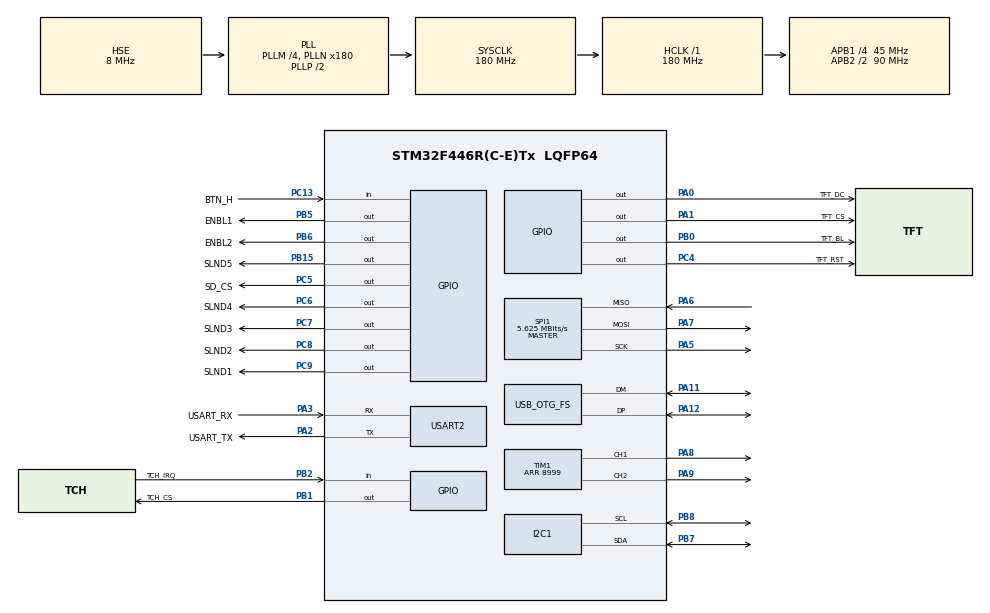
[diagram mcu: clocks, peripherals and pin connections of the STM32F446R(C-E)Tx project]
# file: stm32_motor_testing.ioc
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I2C1.I2C_Mode=I2C_Fast
Mcu.Family=STM32F4
Mcu.Name=STM32F446R(C-E)Tx
Mcu.Package=LQFP64
NVIC.OTG_FS_IRQn=true\:0\:0\:false\:false\:true\:false\:true\:true
NVIC.PriorityGroup=NVIC_PRIORITYGROUP_0
NVIC.TIM3_IRQn=true\:0\:0\:false\:false\:true\:true\:true\:true
NVIC.USART2_IRQn=true\:0\:0\:false\:false\:true\:true\:true\:true
PA0-WKUP.GPIO_Label=TFT_DC
PA0-WKUP.Signal=GPIO_Output
PA1.GPIO_Label=TFT_CS
PA1.Signal=GPIO_Output
PA11.Mode=Device_Only
PA11.Signal=USB_OTG_FS_DM
PA12.Mode=Device_Only
PA12.Signal=USB_OTG_FS_DP
PA13.GPIO_Label=TMS
PA13.Mode=Serial_Wire
PA13.Signal=SYS_JTMS-SWDIO
PA14.GPIO_Label=TCK
PA14.Mode=Serial_Wire
PA14.Signal=SYS_JTCK-SWCLK
PA2.GPIO_Label=USART_TX
PA2.Mode=Asynchronous
PA2.Signal=USART2_TX
PA3.GPIO_Label=USART_RX
PA3.Mode=Asynchronous
PA3.Signal=USART2_RX
PA5.Mode=Full_Duplex_Master
PA5.Signal=SPI1_SCK
PA6.Mode=Full_Duplex_Master
PA6.Signal=SPI1_MISO
PA7.Mode=Full_Duplex_Master
PA7.Signal=SPI1_MOSI
PA8.Signal=S_TIM1_CH1
PA9.Signal=S_TIM1_CH2
PB0.GPIO_Label=TFT_BL
PB0.Signal=GPIO_Output
PB1.GPIO_Label=TCH_CS
PB1.Signal=GPIO_Output
PB15.GPIO_Label=SLND5
PB15.Signal=GPIO_Output
PB2.GPIO_Label=TCH_IRQ
PB2.GPIO_PuPd=GPIO_PULLUP
PB2.Signal=GPIO_Input
PB3.GPIO_Label=SWO
PB3.Signal=SYS_JTDO-SWO
PB5.GPIO_Label=ENBL1
PB5.Signal=GPIO_Output
PB6.GPIO_Label=ENBL2
PB6.Signal=GPIO_Output
PB7.Mode=I2C
PB7.Signal=I2C1_SDA
PB8.Mode=I2C
PB8.Signal=I2C1_SCL
PC13.GPIO_Label=BTN_H
PC13.Signal=GPIO_Input
PC14-OSC32_IN.Mode=LSE-External-Oscillator
PC14-OSC32_IN.Signal=RCC_OSC32_IN
PC15-OSC32_OUT.Mode=LSE-External-Oscillator
PC15-OSC32_OUT.Signal=RCC_OSC32_OUT
PC4.GPIO_Label=TFT_RST
PC4.Signal=GPIO_Output
PC5.GPIO_Label=SD_CS
PC5.Signal=GPIO_Output
PC6.GPIO_Label=SLND4
PC6.Signal=GPIO_Output
PC7.GPIO_Label=SLND3
PC7.Signal=GPIO_Output
PC8.GPIO_Label=SLND2
PC8.Signal=GPIO_Output
PC9.GPIO_Label=SLND1
PC9.Signal=GPIO_Output
PH0-OSC_IN.Mode=HSE-External-Oscillator
PH0-OSC_IN.Signal=RCC_OSC_IN
PH1-OSC_OUT.Mode=HSE-External-Oscillator
PH1-OSC_OUT.Signal=RCC_OSC_OUT
ProjectManager.HeapSize=0x200
ProjectManager.StackSize=0x400
ProjectManager.TargetToolchain=CMake
RCC.48MHZClocksFreq_Value=84000000
RCC.AHBFreq_Value=180000000
RCC.APB1CLKDivider=RCC_HCLK_DIV4
RCC.APB1Freq_Value=45000000
RCC.APB1TimFreq_Value=90000000
RCC.APB2CLKDivider=RCC_HCLK_DIV2
RCC.APB2Freq_Value=90000000
RCC.APB2TimFreq_Value=180000000
RCC.CortexFreq_Value=180000000
RCC.FLatency-AdvancedSettings=FLASH_LATENCY_5
RCC.HCLKFreq_Value=180000000
RCC.HSE_VALUE=8000000
RCC.HSI_VALUE=16000000
RCC.PLLM=4
RCC.PLLN=180
RCC.PLLSAIM=8
RCC.PLLSAIP=RCC_PLLSAIP_DIV4
RCC.SYSCLKFreq_VALUE=180000000
RCC.SYSCLKSource=RCC_SYSCLKSOURCE_PLLCLK
RCC.USBCLockSelection=RCC_CLK48CLKSOURCE_PLLSAIP
RCC.USBFreq_Value=48000000
RCC.VCOOutputFreq_Value=360000000
SH.S_TIM1_CH1.0=TIM1_CH1,PWM Generation1 CH1
SH.S_TIM1_CH2.0=TIM1_CH2,PWM Generation2 CH2
SPI1.BaudRatePrescaler=SPI_BAUDRATEPRESCALER_16
SPI1.CalculateBaudRate=5.625 MBits/s
SPI1.Direction=SPI_DIRECTION_2LINES
SPI1.Mode=SPI_MODE_MASTER
SPI1.VirtualType=VM_MASTER
TIM1.Channel-PWM\ Generation1\ CH1=TIM_CHANNEL_1
TIM1.Channel-PWM\ Generation2\ CH2=TIM_CHANNEL_2
TIM1.Period=8999
TIM3.Period=99
TIM3.Prescaler=8999
USART2.VirtualMode=VM_ASYNC
USB_DEVICE.CLASS_NAME_FS=CDC
USB_DEVICE.VirtualMode-CDC_FS=Cdc
USB_DEVICE.VirtualModeFS=Cdc_FS
USB_OTG_FS.VirtualMode=Device_Only
VP_TIM1_VS_ClockSourceINT.Mode=Internal
VP_TIM3_VS_ClockSourceINT.Mode=Internal
VP_USB_DEVICE_VS_USB_DEVICE_CDC_FS.Mode=CDC_FS
board=NUCLEO-F446RE

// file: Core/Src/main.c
/* USER CODE BEGIN Header */
/* USER CODE END Header */
#include "main.h"
#include "usb_device.h"

/* USER CODE BEGIN Includes */
#include <stdio.h>
#include <string.h>
#include <stdbool.h>
#include "as5600_position.h"
#include "motor_control.h"
#include "actuator.h"
#include "ili9341.h"
#include "xpt2046.h"
#include "menu.h"
/* USER CODE END Includes */

I2C_HandleTypeDef hi2c1;

SPI_HandleTypeDef hspi1;

TIM_HandleTypeDef htim1;
TIM_HandleTypeDef htim3;

UART_HandleTypeDef huart2;

/* USER CODE BEGIN PV */
static const GPIO_Pin_t g_fingers[5] = {
    {GPIOC, SLND1_Pin},
    {GPIOC, SLND2_Pin},
    {GPIOC, SLND3_Pin},
    {GPIOC, SLND4_Pin},
    {GPIOB, SLND5_Pin},
};
/* USER CODE END PV */

void SystemClock_Config(void);
static void MX_GPIO_Init(void);
static void MX_TIM1_Init(void);
static void MX_USART2_UART_Init(void);
static void MX_TIM3_Init(void);
static void MX_I2C1_Init(void);
static void MX_SPI1_Init(void);

/* USER CODE BEGIN 0 */

/* SPI1 shared byte transfer (LCD + touch share the same bus) */
static uint8_t spi1_txrx(uint8_t byte)
{
    uint8_t rx = 0;
    HAL_SPI_TransmitReceive(&hspi1, &byte, &rx, 1, HAL_MAX_DELAY);
    return rx;
}

/* LCD GPIO */
static void lcd_set_cs(int v)
{
    HAL_GPIO_WritePin(TFT_CS_GPIO_Port, TFT_CS_Pin,
                      v ? GPIO_PIN_SET : GPIO_PIN_RESET);
}
static void lcd_set_dc(int v)
{
    HAL_GPIO_WritePin(TFT_DC_GPIO_Port, TFT_DC_Pin,
                      v ? GPIO_PIN_SET : GPIO_PIN_RESET);
}
static void lcd_set_rst(int v)
{
    HAL_GPIO_WritePin(TFT_RST_GPIO_Port, TFT_RST_Pin,
                      v ? GPIO_PIN_SET : GPIO_PIN_RESET);
}

/* Touch GPIO */
static void tch_set_cs(int v)
{
    HAL_GPIO_WritePin(TCH_CS_GPIO_Port, TCH_CS_Pin,
                      v ? GPIO_PIN_SET : GPIO_PIN_RESET);
}
static int tch_read_irq(void)
{
    return HAL_GPIO_ReadPin(TCH_IRQ_GPIO_Port, TCH_IRQ_Pin);
}

/* Strong definition: drive solenoid finger from the actuators screen */
void menu_test_finger(int idx, bool on)
{
    if (idx < 0 || idx >= 5) return;
    Actuator_SetState(on ? GPIO_PIN_SET : GPIO_PIN_RESET, 1, g_fingers[idx]);
}

/* USER CODE END 0 */

int main(void)
{

  /* MCU Configuration--------------------------------------------------------*/

  /* Reset of all peripherals, Initializes the Flash interface and the Systick. */
  HAL_Init();

  /* Configure the system clock */
  SystemClock_Config();

  /* Initialize all configured peripherals */
  MX_GPIO_Init();
  MX_TIM1_Init();
  MX_USART2_UART_Init();
  MX_TIM3_Init();
  MX_I2C1_Init();
  MX_SPI1_Init();
  MX_USB_DEVICE_Init();
  /* USER CODE BEGIN 2 */

  /* Deassert all SPI CS pins before driving the bus */
  lcd_set_cs(1);
  tch_set_cs(1);
  HAL_GPIO_WritePin(SD_CS_GPIO_Port, SD_CS_Pin, GPIO_PIN_SET);

  /* Init LCD */
  ILI9341_Config lcd_cfg = {
    .spi_txrx = spi1_txrx,
    .set_cs   = lcd_set_cs,
    .set_dc   = lcd_set_dc,
    .set_rst  = lcd_set_rst,
    .delay_ms = HAL_Delay,
    .rotation = ROTATION_0,
  };
  ili9341_init(&lcd_cfg);
  HAL_GPIO_WritePin(TFT_BL_GPIO_Port, TFT_BL_Pin, GPIO_PIN_SET);

  /* Init touchscreen */
  XPT2046_Config tch_cfg = {
    .spi_txrx = spi1_txrx,
    .set_cs   = tch_set_cs,
    .read_irq = tch_read_irq,
  };
  xpt2046_init(&tch_cfg);
  xpt2046_default_cal(ILI9341_WIDTH, ILI9341_HEIGHT);

  /* Init menu */
  menu_init();

  /* Init solenoid fingers */
  Actuator_Init(5,
    g_fingers[0], g_fingers[1], g_fingers[2],
    g_fingers[3], g_fingers[4]);

  /* Init encoder and motor control */
  AS5600_Init();
  MotorControl_Init();
  //MotorControl_Home();

  /* USER CODE END 2 */

  /* Infinite loop */
  while (1) {

    /* USER CODE BEGIN 3 */
    MotorControl_Process();   /* handle UART commands + stream telemetry */
    menu_update();            /* poll touchscreen and update LCD menu     */
  }
  /* USER CODE END 3 */
}

void SystemClock_Config(void)
{
  RCC_OscInitTypeDef RCC_OscInitStruct = {0};
  RCC_ClkInitTypeDef RCC_ClkInitStruct = {0};

  /** Configure the main internal regulator output voltage
  */
  __HAL_RCC_PWR_CLK_ENABLE();
  __HAL_PWR_VOLTAGESCALING_CONFIG(PWR_REGULATOR_VOLTAGE_SCALE1);

  /** Initializes the RCC Oscillators according to the specified parameters
  * in the RCC_OscInitTypeDef structure.
  */
  RCC_OscInitStruct.OscillatorType = RCC_OSCILLATORTYPE_HSE;
  RCC_OscInitStruct.HSEState = RCC_HSE_ON;
  RCC_OscInitStruct.PLL.PLLState = RCC_PLL_ON;
  RCC_OscInitStruct.PLL.PLLSource = RCC_PLLSOURCE_HSE;
  RCC_OscInitStruct.PLL.PLLM = 4;
  RCC_OscInitStruct.PLL.PLLN = 180;
  RCC_OscInitStruct.PLL.PLLP = RCC_PLLP_DIV2;
  RCC_OscInitStruct.PLL.PLLQ = 2;
  RCC_OscInitStruct.PLL.PLLR = 2;
  if (HAL_RCC_OscConfig(&RCC_OscInitStruct) != HAL_OK)
  {
    Error_Handler();
  }

  /** Activate the Over-Drive mode
  */
  if (HAL_PWREx_EnableOverDrive() != HAL_OK)
  {
    Error_Handler();
  }

  /** Initializes the CPU, AHB and APB buses clocks
  */
  RCC_ClkInitStruct.ClockType = RCC_CLOCKTYPE_HCLK|RCC_CLOCKTYPE_SYSCLK
                              |RCC_CLOCKTYPE_PCLK1|RCC_CLOCKTYPE_PCLK2;
  RCC_ClkInitStruct.SYSCLKSource = RCC_SYSCLKSOURCE_PLLCLK;
  RCC_ClkInitStruct.AHBCLKDivider = RCC_SYSCLK_DIV1;
  RCC_ClkInitStruct.APB1CLKDivider = RCC_HCLK_DIV4;
  RCC_ClkInitStruct.APB2CLKDivider = RCC_HCLK_DIV2;

  if (HAL_RCC_ClockConfig(&RCC_ClkInitStruct, FLASH_LATENCY_5) != HAL_OK)
  {
    Error_Handler();
  }
}

static void MX_I2C1_Init(void)
{

  hi2c1.Instance = I2C1;
  hi2c1.Init.ClockSpeed = 400000;
  hi2c1.Init.DutyCycle = I2C_DUTYCYCLE_2;
  hi2c1.Init.OwnAddress1 = 0;
  hi2c1.Init.AddressingMode = I2C_ADDRESSINGMODE_7BIT;
  hi2c1.Init.DualAddressMode = I2C_DUALADDRESS_DISABLE;
  hi2c1.Init.OwnAddress2 = 0;
  hi2c1.Init.GeneralCallMode = I2C_GENERALCALL_DISABLE;
  hi2c1.Init.NoStretchMode = I2C_NOSTRETCH_DISABLE;
  if (HAL_I2C_Init(&hi2c1) != HAL_OK)
  {
    Error_Handler();
  }

}

static void MX_SPI1_Init(void)
{

  /* SPI1 parameter configuration*/
  hspi1.Instance = SPI1;
  hspi1.Init.Mode = SPI_MODE_MASTER;
  hspi1.Init.Direction = SPI_DIRECTION_2LINES;
  hspi1.Init.DataSize = SPI_DATASIZE_8BIT;
  hspi1.Init.CLKPolarity = SPI_POLARITY_LOW;
  hspi1.Init.CLKPhase = SPI_PHASE_1EDGE;
  hspi1.Init.NSS = SPI_NSS_SOFT;
  hspi1.Init.BaudRatePrescaler = SPI_BAUDRATEPRESCALER_16;
  hspi1.Init.FirstBit = SPI_FIRSTBIT_MSB;
  hspi1.Init.TIMode = SPI_TIMODE_DISABLE;
  hspi1.Init.CRCCalculation = SPI_CRCCALCULATION_DISABLE;
  hspi1.Init.CRCPolynomial = 10;
  if (HAL_SPI_Init(&hspi1) != HAL_OK)
  {
    Error_Handler();
  }

}

static void MX_TIM1_Init(void)
{

  TIM_ClockConfigTypeDef sClockSourceConfig = {0};
  TIM_MasterConfigTypeDef sMasterConfig = {0};
  TIM_OC_InitTypeDef sConfigOC = {0};
  TIM_BreakDeadTimeConfigTypeDef sBreakDeadTimeConfig = {0};

  htim1.Instance = TIM1;
  htim1.Init.Prescaler = 0;
  htim1.Init.CounterMode = TIM_COUNTERMODE_UP;
  htim1.Init.Period = 8999;
  htim1.Init.ClockDivision = TIM_CLOCKDIVISION_DIV1;
  htim1.Init.RepetitionCounter = 0;
  htim1.Init.AutoReloadPreload = TIM_AUTORELOAD_PRELOAD_DISABLE;
  if (HAL_TIM_Base_Init(&htim1) != HAL_OK)
  {
    Error_Handler();
  }
  sClockSourceConfig.ClockSource = TIM_CLOCKSOURCE_INTERNAL;
  if (HAL_TIM_ConfigClockSource(&htim1, &sClockSourceConfig) != HAL_OK)
  {
    Error_Handler();
  }
  if (HAL_TIM_PWM_Init(&htim1) != HAL_OK)
  {
    Error_Handler();
  }
  sMasterConfig.MasterOutputTrigger = TIM_TRGO_RESET;
  sMasterConfig.MasterSlaveMode = TIM_MASTERSLAVEMODE_DISABLE;
  if (HAL_TIMEx_MasterConfigSynchronization(&htim1, &sMasterConfig) != HAL_OK)
  {
    Error_Handler();
  }
  sConfigOC.OCMode = TIM_OCMODE_PWM1;
  sConfigOC.Pulse = 0;
  sConfigOC.OCPolarity = TIM_OCPOLARITY_HIGH;
  sConfigOC.OCNPolarity = TIM_OCNPOLARITY_HIGH;
  sConfigOC.OCFastMode = TIM_OCFAST_DISABLE;
  sConfigOC.OCIdleState = TIM_OCIDLESTATE_RESET;
  sConfigOC.OCNIdleState = TIM_OCNIDLESTATE_RESET;
  if (HAL_TIM_PWM_ConfigChannel(&htim1, &sConfigOC, TIM_CHANNEL_1) != HAL_OK)
  {
    Error_Handler();
  }
  if (HAL_TIM_PWM_ConfigChannel(&htim1, &sConfigOC, TIM_CHANNEL_2) != HAL_OK)
  {
    Error_Handler();
  }
  sBreakDeadTimeConfig.OffStateRunMode = TIM_OSSR_DISABLE;
  sBreakDeadTimeConfig.OffStateIDLEMode = TIM_OSSI_DISABLE;
  sBreakDeadTimeConfig.LockLevel = TIM_LOCKLEVEL_OFF;
  sBreakDeadTimeConfig.DeadTime = 0;
  sBreakDeadTimeConfig.BreakState = TIM_BREAK_DISABLE;
  sBreakDeadTimeConfig.BreakPolarity = TIM_BREAKPOLARITY_HIGH;
  sBreakDeadTimeConfig.AutomaticOutput = TIM_AUTOMATICOUTPUT_DISABLE;
  if (HAL_TIMEx_ConfigBreakDeadTime(&htim1, &sBreakDeadTimeConfig) != HAL_OK)
  {
    Error_Handler();
  }
  HAL_TIM_MspPostInit(&htim1);

}

static void MX_TIM3_Init(void)
{

  TIM_ClockConfigTypeDef sClockSourceConfig = {0};
  TIM_MasterConfigTypeDef sMasterConfig = {0};

  htim3.Instance = TIM3;
  htim3.Init.Prescaler = 8999;
  htim3.Init.CounterMode = TIM_COUNTERMODE_UP;
  htim3.Init.Period = 99;
  htim3.Init.ClockDivision = TIM_CLOCKDIVISION_DIV1;
  htim3.Init.AutoReloadPreload = TIM_AUTORELOAD_PRELOAD_DISABLE;
  if (HAL_TIM_Base_Init(&htim3) != HAL_OK)
  {
    Error_Handler();
  }
  sClockSourceConfig.ClockSource = TIM_CLOCKSOURCE_INTERNAL;
  if (HAL_TIM_ConfigClockSource(&htim3, &sClockSourceConfig) != HAL_OK)
  {
    Error_Handler();
  }
  sMasterConfig.MasterOutputTrigger = TIM_TRGO_RESET;
  sMasterConfig.MasterSlaveMode = TIM_MASTERSLAVEMODE_DISABLE;
  if (HAL_TIMEx_MasterConfigSynchronization(&htim3, &sMasterConfig) != HAL_OK)
  {
    Error_Handler();
  }

}

static void MX_USART2_UART_Init(void)
{

  huart2.Instance = USART2;
  huart2.Init.BaudRate = 115200;
  huart2.Init.WordLength = UART_WORDLENGTH_8B;
  huart2.Init.StopBits = UART_STOPBITS_1;
  huart2.Init.Parity = UART_PARITY_NONE;
  huart2.Init.Mode = UART_MODE_TX_RX;
  huart2.Init.HwFlowCtl = UART_HWCONTROL_NONE;
  huart2.Init.OverSampling = UART_OVERSAMPLING_16;
  if (HAL_UART_Init(&huart2) != HAL_OK)
  {
    Error_Handler();
  }

}

static void MX_GPIO_Init(void)
{
  GPIO_InitTypeDef GPIO_InitStruct = {0};

  /* GPIO Ports Clock Enable */
  __HAL_RCC_GPIOC_CLK_ENABLE();
  __HAL_RCC_GPIOH_CLK_ENABLE();
  __HAL_RCC_GPIOA_CLK_ENABLE();
  __HAL_RCC_GPIOB_CLK_ENABLE();

  /*Configure GPIO pin Output Level */
  HAL_GPIO_WritePin(GPIOA, TFT_DC_Pin|TFT_CS_Pin, GPIO_PIN_RESET);

  /*Configure GPIO pin Output Level */
  HAL_GPIO_WritePin(GPIOC, TFT_RST_Pin|SD_CS_Pin|SLND4_Pin|SLND3_Pin
                          |SLND2_Pin|SLND1_Pin, GPIO_PIN_RESET);

  /*Configure GPIO pin Output Level */
  HAL_GPIO_WritePin(GPIOB, TFT_BL_Pin|TCH_CS_Pin|SLND5_Pin|ENBL1_Pin
                          |ENBL2_Pin, GPIO_PIN_RESET);

  /*Configure GPIO pin : BTN_H_Pin */
  GPIO_InitStruct.Pin = BTN_H_Pin;
  GPIO_InitStruct.Mode = GPIO_MODE_INPUT;
  GPIO_InitStruct.Pull = GPIO_NOPULL;
  HAL_GPIO_Init(BTN_H_GPIO_Port, &GPIO_InitStruct);

  /*Configure GPIO pins : TFT_DC_Pin TFT_CS_Pin */
  GPIO_InitStruct.Pin = TFT_DC_Pin|TFT_CS_Pin;
  GPIO_InitStruct.Mode = GPIO_MODE_OUTPUT_PP;
  GPIO_InitStruct.Pull = GPIO_NOPULL;
  GPIO_InitStruct.Speed = GPIO_SPEED_FREQ_LOW;
  HAL_GPIO_Init(GPIOA, &GPIO_InitStruct);

  /*Configure GPIO pins : TFT_RST_Pin SD_CS_Pin SLND4_Pin SLND3_Pin
                           SLND2_Pin SLND1_Pin */
  GPIO_InitStruct.Pin = TFT_RST_Pin|SD_CS_Pin|SLND4_Pin|SLND3_Pin
                          |SLND2_Pin|SLND1_Pin;
  GPIO_InitStruct.Mode = GPIO_MODE_OUTPUT_PP;
  GPIO_InitStruct.Pull = GPIO_NOPULL;
  GPIO_InitStruct.Speed = GPIO_SPEED_FREQ_LOW;
  HAL_GPIO_Init(GPIOC, &GPIO_InitStruct);

  /*Configure GPIO pins : TFT_BL_Pin TCH_CS_Pin SLND5_Pin ENBL1_Pin
                           ENBL2_Pin */
  GPIO_InitStruct.Pin = TFT_BL_Pin|TCH_CS_Pin|SLND5_Pin|ENBL1_Pin
                          |ENBL2_Pin;
  GPIO_InitStruct.Mode = GPIO_MODE_OUTPUT_PP;
  GPIO_InitStruct.Pull = GPIO_NOPULL;
  GPIO_InitStruct.Speed = GPIO_SPEED_FREQ_LOW;
  HAL_GPIO_Init(GPIOB, &GPIO_InitStruct);

  /*Configure GPIO pin : TCH_IRQ_Pin */
  GPIO_InitStruct.Pin = TCH_IRQ_Pin;
  GPIO_InitStruct.Mode = GPIO_MODE_INPUT;
  GPIO_InitStruct.Pull = GPIO_PULLUP;
  HAL_GPIO_Init(TCH_IRQ_GPIO_Port, &GPIO_InitStruct);

  /* USER CODE BEGIN MX_GPIO_Init_2 */
  /* Override PC13 (user button) with internal pull-up so it reads reliably
   * without requiring an external resistor. Active-low: pressed = RESET. */
  GPIO_InitStruct.Pin  = GPIO_PIN_13;
  GPIO_InitStruct.Mode = GPIO_MODE_INPUT;
  GPIO_InitStruct.Pull = GPIO_PULLUP;
  HAL_GPIO_Init(GPIOC, &GPIO_InitStruct);

  /* TCH_CS (PB1) – output, active-low chip select for XPT2046 */
  GPIO_InitStruct.Pin   = TCH_CS_Pin;
  GPIO_InitStruct.Mode  = GPIO_MODE_OUTPUT_PP;
  GPIO_InitStruct.Pull  = GPIO_NOPULL;
  GPIO_InitStruct.Speed = GPIO_SPEED_FREQ_LOW;
  HAL_GPIO_WritePin(TCH_CS_GPIO_Port, TCH_CS_Pin, GPIO_PIN_SET);
  HAL_GPIO_Init(TCH_CS_GPIO_Port, &GPIO_InitStruct);

  /* TCH_IRQ (PB2) – input with pull-up, active-low touch interrupt */
  GPIO_InitStruct.Pin  = TCH_IRQ_Pin;
  GPIO_InitStruct.Mode = GPIO_MODE_INPUT;
  GPIO_InitStruct.Pull = GPIO_PULLUP;
  HAL_GPIO_Init(TCH_IRQ_GPIO_Port, &GPIO_InitStruct);

  /* BTN_NAV (PB6) and BTN_SEL (PB5) – inputs with pull-up, active-low */
  GPIO_InitStruct.Pin  = BTN_NAV_Pin | BTN_SEL_Pin;
  GPIO_InitStruct.Mode = GPIO_MODE_INPUT;
  GPIO_InitStruct.Pull = GPIO_PULLUP;
  HAL_GPIO_Init(GPIOB, &GPIO_InitStruct);
  /* USER CODE END MX_GPIO_Init_2 */
}

/* USER CODE BEGIN 4 */
void HAL_TIM_PeriodElapsedCallback(TIM_HandleTypeDef *htim)
{
    if (htim->Instance == TIM3)
    {
        MotorControl_TimerISR();   /* reads encoder, runs PID, drives motor */
    }
}

void HAL_UART_RxCpltCallback(UART_HandleTypeDef *huart)
{
    if (huart->Instance == USART2)
    {
        MotorControl_UartISR();    /* echo char, build command, set flag */
    }
}
/* USER CODE END 4 */

void Error_Handler(void)
{
}
